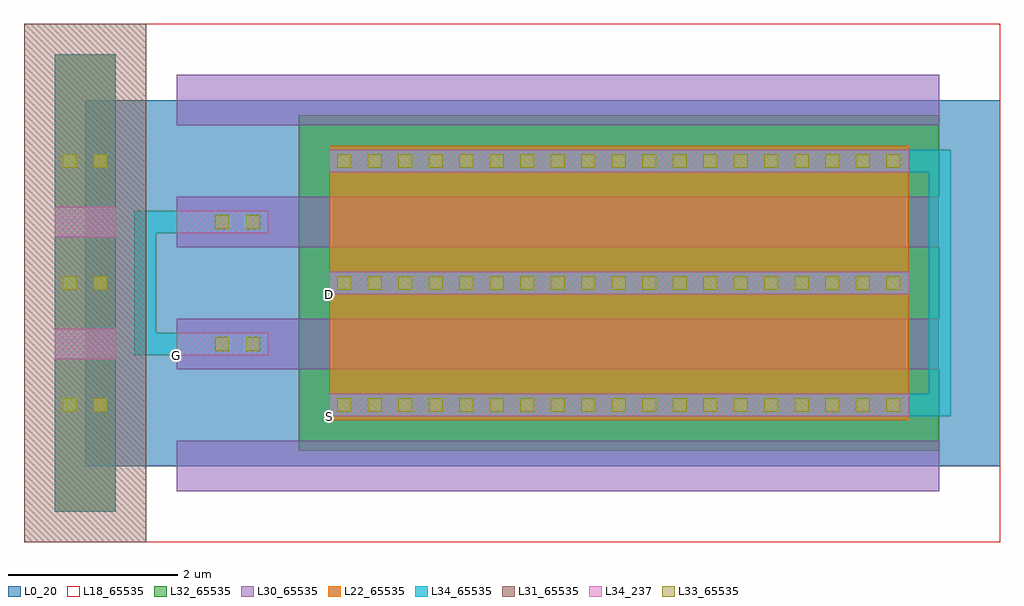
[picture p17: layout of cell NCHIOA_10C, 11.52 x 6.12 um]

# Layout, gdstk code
import gdstk
lib = gdstk.Library(unit=1e-6, precision=1e-09)
def R(c, l, rs):  # rectangles x0, y0, x1, y1
    for r in rs: c.add(gdstk.rectangle(r[:2], r[2:], *l))
def A(c, l, x, y, w, h, nx, ny, dx, dy):  # array of equal rectangles
    R(c, l, [(x+i*dx, y+j*dy, x+i*dx+w, y+j*dy+h) for i in range(nx) for j in range(ny)])
L0_20 = (0, 20)
L18_65535 = (18, 65535)
L22_65535 = (22, 65535)
L30_65535 = (30, 65535)
L31_65535 = (31, 65535)
L32_65535 = (32, 65535)
L33_65535 = (33, 65535)
L34_237 = (34, 237)
L34_65535 = (34, 65535)

nchio_10c = lib.new_cell('NCHIO_10C')
R(nchio_10c, L0_20, [(0,0,10.8,2.88)])
R(nchio_10c, L18_65535, [(-0.72,-0.9,10.8,3.78)])
A(nchio_10c, L22_65535, -0.36, -0.54, 0.72, 0.36, 1, 11, 0, 0.36)
A(nchio_10c, L22_65535, 2.88, 0.54, 6.84, 0.36, 1, 5, 0, 0.36)
A(nchio_10c, L30_65535, 1.08, -0.3, 9, 0.6, 1, 3, 0, 1.44)
R(nchio_10c, L31_65535, [(-0.72,-0.9,0.72,3.78)])
R(nchio_10c, L32_65535, [(2.52,0.18,10.08,2.7)])
A(nchio_10c, L33_65535, 2.98, 0.64, 0.16, 0.16, 19, 2, 0.36, 1.44)
R(nchio_10c, L33_65535, [(-0.26,0.64,-0.1,0.8), (0.1,0.64,0.26,0.8), (1.54,1.36,1.7,1.52), (1.9,1.36,2.06,1.52), (-0.26,2.08,-0.1,2.24), (0.1,2.08,0.26,2.24)])
R(nchio_10c, L34_237, [(2.88,0.59,9.72,0.85), (-0.36,1.26,0.36,1.62), (1.08,1.31,2.16,1.57), (2.88,2.03,9.72,2.29)])
A(nchio_10c, L34_65535, -0.36, -0.54, 0.72, 0.36, 1, 11, 0, 0.36)
R(nchio_10c, L34_65535, [(2.88,0.59,9.72,0.85), (1.08,1.31,2.16,1.57), (2.88,2.03,9.72,2.29)])
nchio_10c.add(gdstk.Label('G', (1.08,1.31), layer=34, texttype=237))
nchio_10c.add(gdstk.Label('S', (2.88,0.59), layer=34, texttype=237))
nchio_10c.add(gdstk.Label('B', (-0.36,1.26), layer=34, texttype=237))
nchio_10c.add(gdstk.Label('D', (2.88,2.03), layer=34, texttype=237))

nchioa_10c = lib.new_cell('NCHIOA_10C')
R(nchioa_10c, L0_20, [(0,0,10.8,4.32)])
R(nchioa_10c, L34_237, [(2.88,0.59,9.72,0.85), (1.08,1.31,2.16,1.57), (2.88,2.03,9.72,2.29)])
R(nchioa_10c, L34_65535, [(6.3,0.59,9.96,0.85), (9.96,0.59,10.22,3.73), (0.58,1.31,1.62,1.57), (0.58,1.31,0.84,3.01), (0.58,2.75,1.62,3.01), (6.3,3.47,9.96,3.73)])
nchioa_10c.add(gdstk.Reference(nchio_10c, (0,0)))
nchioa_10c.add(gdstk.Reference(nchio_10c, (0,1.44)))
nchioa_10c.add(gdstk.Label('S', (2.88,0.59), layer=58, texttype=65535))
nchioa_10c.add(gdstk.Label('G', (1.08,1.31), layer=58, texttype=65535))
nchioa_10c.add(gdstk.Label('D', (2.88,2.03), layer=34, texttype=237))
nchioa_10c.add(gdstk.Label('G', (1.08,1.31), layer=34, texttype=237))
nchioa_10c.add(gdstk.Label('S', (2.88,0.59), layer=34, texttype=237))

lib.write_gds('NCHIOA_10C.gds')
